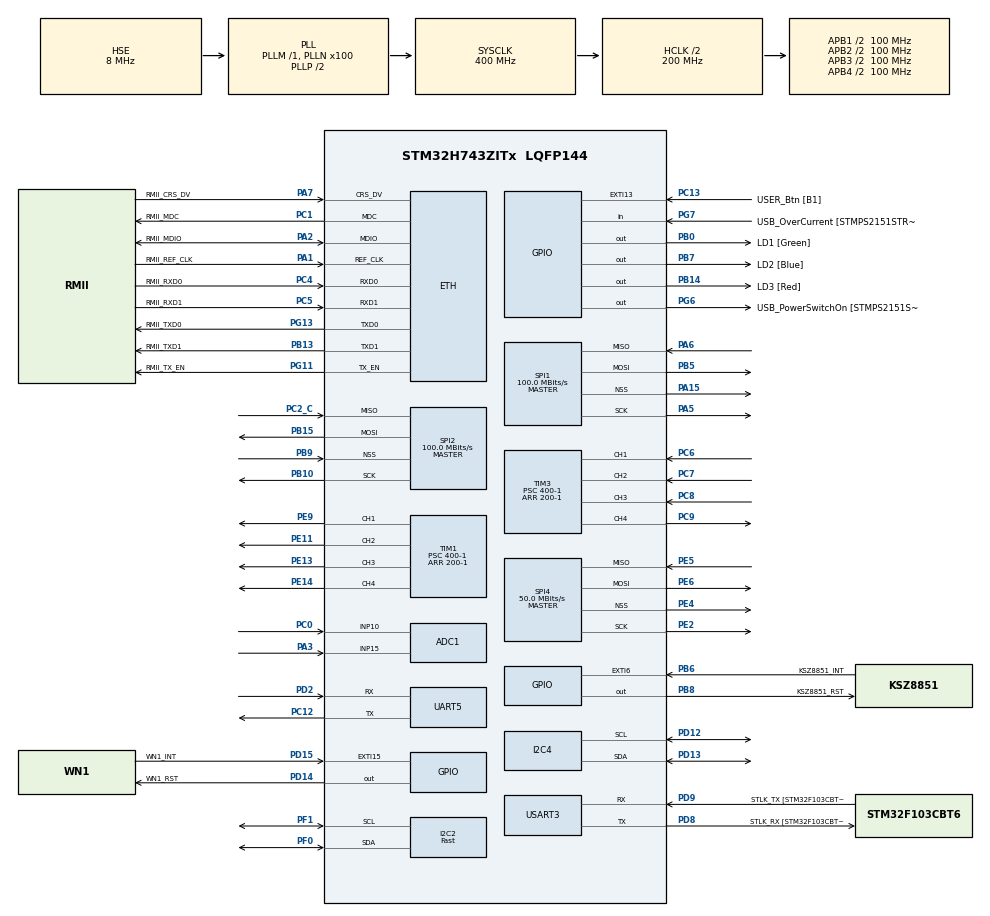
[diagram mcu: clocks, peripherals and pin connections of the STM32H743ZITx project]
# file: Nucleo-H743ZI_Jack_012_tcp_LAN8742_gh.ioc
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ADC1.Channel-0\#ChannelRegularConversion=ADC_CHANNEL_15
ADC1.NbrOfConversionFlag=1
ADC1.OffsetNumber-0\#ChannelRegularConversion=ADC_OFFSET_NONE
ADC1.Rank-0\#ChannelRegularConversion=1
ADC1.SamplingTime-0\#ChannelRegularConversion=ADC_SAMPLETIME_1CYCLE_5
ADC1.master=1
CORTEX_M7.AccessPermission-Cortex_Memory_Protection_Unit_Region0_Settings=MPU_REGION_FULL_ACCESS
CORTEX_M7.AccessPermission-Cortex_Memory_Protection_Unit_Region1_Settings=MPU_REGION_FULL_ACCESS
CORTEX_M7.AccessPermission-Cortex_Memory_Protection_Unit_Region2_Settings=MPU_REGION_FULL_ACCESS
CORTEX_M7.BaseAddress-Cortex_Memory_Protection_Unit_Region0_Settings=0x30040000
CORTEX_M7.BaseAddress-Cortex_Memory_Protection_Unit_Region1_Settings=0x30044000
CORTEX_M7.BaseAddress-Cortex_Memory_Protection_Unit_Region2_Settings=0x30040000
CORTEX_M7.CPU_DCache=Enabled
CORTEX_M7.CPU_ICache=Enabled
CORTEX_M7.Enable-Cortex_Memory_Protection_Unit_Region0_Settings=MPU_REGION_ENABLE
CORTEX_M7.Enable-Cortex_Memory_Protection_Unit_Region1_Settings=MPU_REGION_ENABLE
CORTEX_M7.Enable-Cortex_Memory_Protection_Unit_Region2_Settings=MPU_REGION_ENABLE
CORTEX_M7.IsBufferable-Cortex_Memory_Protection_Unit_Region0_Settings=MPU_ACCESS_NOT_BUFFERABLE
CORTEX_M7.IsBufferable-Cortex_Memory_Protection_Unit_Region2_Settings=MPU_ACCESS_BUFFERABLE
CORTEX_M7.IsCacheable-Cortex_Memory_Protection_Unit_Region1_Settings=MPU_ACCESS_CACHEABLE
CORTEX_M7.MPU_Control=MPU_PRIVILEGED_DEFAULT
CORTEX_M7.Size-Cortex_Memory_Protection_Unit_Region0_Settings=MPU_REGION_SIZE_16KB
CORTEX_M7.Size-Cortex_Memory_Protection_Unit_Region1_Settings=MPU_REGION_SIZE_16KB
CORTEX_M7.Size-Cortex_Memory_Protection_Unit_Region2_Settings=MPU_REGION_SIZE_256B
CORTEX_M7.TypeExtField-Cortex_Memory_Protection_Unit_Region0_Settings=MPU_TEX_LEVEL1
ETH.MediaInterface=HAL_ETH_RMII_MODE
I2C2.I2C_Speed_Mode=I2C_Fast
I2C2.Timing=0x009034B6
I2C4.Timing=0x10C0ECFF
IWDG1.Prescaler=IWDG_PRESCALER_256
LWIP.BSP.number=1
LWIP.GATEWAY_ADDRESS=192.168.025.253
LWIP.IP_ADDRESS=192.168.025.238
LWIP.LWIP_DHCP=0
LWIP.NETMASK_ADDRESS=255.255.255.000
LWIP.Version=v2.0.3_Cube
LWIP0.BSP.STBoard=false
LWIP0.BSP.api=BSP_COMPONENT_DRIVER
LWIP0.BSP.component=LAN8742
LWIP0.BSP.i2caddr=0
LWIP0.BSP.instance=LAN8742
LWIP0.BSP.name=Driver_PHY
LWIP0.BSP.solution=LAN8742
Mcu.Family=STM32H7
Mcu.Name=STM32H743ZITx
Mcu.Package=LQFP144
NVIC.ETH_IRQn=true\:0\:0\:false\:false\:true\:true
NVIC.ETH_WKUP_IRQn=true\:0\:0\:false\:false\:true\:true
NVIC.PriorityGroup=NVIC_PRIORITYGROUP_4
PA1.GPIO_Label=RMII_REF_CLK
PA1.GPIO_Speed=GPIO_SPEED_FREQ_VERY_HIGH
PA1.Mode=RMII
PA1.Signal=ETH_REF_CLK
PA10.GPIO_Label=USB_ID
PA10.Signal=USB_OTG_FS_ID
PA11.GPIO_Label=USB_DM
PA11.GPIO_Speed=GPIO_SPEED_FREQ_VERY_HIGH
PA11.Signal=USB_OTG_FS_DM
PA12.GPIO_Label=USB_DP
PA12.GPIO_Speed=GPIO_SPEED_FREQ_VERY_HIGH
PA12.Signal=USB_OTG_FS_DP
PA13\ (JTMS/SWDIO).GPIO_Label=TMS
PA13\ (JTMS/SWDIO).Mode=Serial_Wire
PA13\ (JTMS/SWDIO).Signal=SYS_JTMS-SWDIO
PA14\ (JTCK/SWCLK).GPIO_Label=TCK
PA14\ (JTCK/SWCLK).Mode=Serial_Wire
PA14\ (JTCK/SWCLK).Signal=SYS_JTCK-SWCLK
PA15\ (JTDI).GPIO_Speed=GPIO_SPEED_FREQ_VERY_HIGH
PA15\ (JTDI).Mode=NSS_Signal_Hard_Output
PA15\ (JTDI).Signal=SPI1_NSS
PA2.GPIO_Label=RMII_MDIO
PA2.GPIO_Speed=GPIO_SPEED_FREQ_VERY_HIGH
PA2.Mode=RMII
PA2.Signal=ETH_MDIO
PA3.Signal=ADCx_INP15
PA5.GPIO_Speed=GPIO_SPEED_FREQ_VERY_HIGH
PA5.Mode=Full_Duplex_Master
PA5.Signal=SPI1_SCK
PA6.GPIO_Speed=GPIO_SPEED_FREQ_VERY_HIGH
PA6.Mode=Full_Duplex_Master
PA6.Signal=SPI1_MISO
PA7.GPIO_Label=RMII_CRS_DV
PA7.GPIO_Speed=GPIO_SPEED_FREQ_VERY_HIGH
PA7.Mode=RMII
PA7.Signal=ETH_CRS_DV
PA8.GPIO_Label=USB_SOF [TP1]
PA8.GPIO_Speed=GPIO_SPEED_FREQ_VERY_HIGH
PA8.Signal=USB_OTG_FS_SOF
PA9.GPIO_Label=USB_VBUS
PA9.Signal=USB_OTG_FS_VBUS
PB0.GPIO_Label=LD1 [Green]
PB0.GPIO_Speed=GPIO_SPEED_FREQ_LOW
PB0.Signal=GPIO_Output
PB10.GPIO_Speed=GPIO_SPEED_FREQ_VERY_HIGH
PB10.Mode=Full_Duplex_Master
PB10.Signal=SPI2_SCK
PB13.GPIO_Label=RMII_TXD1
PB13.GPIO_Speed=GPIO_SPEED_FREQ_VERY_HIGH
PB13.Mode=RMII
PB13.Signal=ETH_TXD1
PB14.GPIO_Label=LD3 [Red]
PB14.Signal=GPIO_Output
PB15.GPIO_Speed=GPIO_SPEED_FREQ_VERY_HIGH
PB15.Mode=Full_Duplex_Master
PB15.Signal=SPI2_MOSI
PB3\ (JTDO/TRACESWO).GPIO_Label=SWO
PB3\ (JTDO/TRACESWO).Signal=SYS_JTDO-SWO
PB5.GPIO_Speed=GPIO_SPEED_FREQ_VERY_HIGH
PB5.Mode=Full_Duplex_Master
PB5.Signal=SPI1_MOSI
PB6.GPIO_Label=KSZ8851_INT
PB6.Signal=GPXTI6
PB7.GPIO_Label=LD2 [Blue]
PB7.Signal=GPIO_Output
PB8.GPIO_Label=KSZ8851_RST
PB8.PinState=GPIO_PIN_SET
PB8.Signal=GPIO_Output
PB9.GPIO_Speed=GPIO_SPEED_FREQ_VERY_HIGH
PB9.Mode=NSS_Signal_Hard_Input
PB9.Signal=SPI2_NSS
PC0.Signal=ADCx_INP10
PC1.GPIO_Label=RMII_MDC
PC1.Mode=RMII
PC1.Signal=ETH_MDC
PC12.GPIO_Speed=GPIO_SPEED_FREQ_HIGH
PC12.Mode=Asynchronous
PC12.Signal=UART5_TX
PC13.GPIO_Label=USER_Btn [B1]
PC13.Signal=GPXTI13
PC14-OSC32_IN\ (OSC32_IN).Mode=LSE-External-Oscillator
PC14-OSC32_IN\ (OSC32_IN).Signal=RCC_OSC32_IN
PC15-OSC32_OUT\ (OSC32_OUT).Mode=LSE-External-Oscillator
PC15-OSC32_OUT\ (OSC32_OUT).Signal=RCC_OSC32_OUT
PC2_C.GPIO_Speed=GPIO_SPEED_FREQ_VERY_HIGH
PC2_C.Mode=Full_Duplex_Master
PC2_C.Signal=SPI2_MISO
PC4.GPIO_Label=RMII_RXD0
PC4.GPIO_Speed=GPIO_SPEED_FREQ_VERY_HIGH
PC4.Mode=RMII
PC4.Signal=ETH_RXD0
PC5.GPIO_Label=RMII_RXD1
PC5.GPIO_Speed=GPIO_SPEED_FREQ_VERY_HIGH
PC5.Mode=RMII
PC5.Signal=ETH_RXD1
PC6.Signal=S_TIM3_CH1
PC7.Signal=S_TIM3_CH2
PC8.Signal=S_TIM3_CH3
PC9.Signal=S_TIM3_CH4
PD12.GPIO_Speed=GPIO_SPEED_FREQ_HIGH
PD12.Mode=I2C
PD12.Signal=I2C4_SCL
PD13.GPIO_Speed=GPIO_SPEED_FREQ_HIGH
PD13.Mode=I2C
PD13.Signal=I2C4_SDA
PD14.GPIO_Label=WN1_RST
PD14.PinState=GPIO_PIN_SET
PD14.Signal=GPIO_Output
PD15.GPIO_Label=WN1_INT
PD15.GPIO_PuPd=GPIO_PULLUP
PD15.Signal=GPXTI15
PD2.GPIO_Speed=GPIO_SPEED_FREQ_HIGH
PD2.Mode=Asynchronous
PD2.Signal=UART5_RX
PD8.GPIO_Label=STLK_RX [STM32F103CBT6_PA3]
PD8.GPIO_Speed=GPIO_SPEED_FREQ_HIGH
PD8.Mode=Asynchronous
PD8.Signal=USART3_TX
PD9.GPIO_Label=STLK_TX [STM32F103CBT6_PA2]
PD9.GPIO_Speed=GPIO_SPEED_FREQ_HIGH
PD9.Mode=Asynchronous
PD9.Signal=USART3_RX
PE11.Signal=S_TIM1_CH2
PE13.Signal=S_TIM1_CH3
PE14.Signal=S_TIM1_CH4
PE2.GPIO_Speed=GPIO_SPEED_FREQ_VERY_HIGH
PE2.Mode=Full_Duplex_Master
PE2.Signal=SPI4_SCK
PE4.GPIO_Speed=GPIO_SPEED_FREQ_VERY_HIGH
PE4.Mode=NSS_Signal_Hard_Output
PE4.Signal=SPI4_NSS
PE5.GPIO_Speed=GPIO_SPEED_FREQ_VERY_HIGH
PE5.Mode=Full_Duplex_Master
PE5.Signal=SPI4_MISO
PE6.GPIO_Speed=GPIO_SPEED_FREQ_VERY_HIGH
PE6.Mode=Full_Duplex_Master
PE6.Signal=SPI4_MOSI
PE9.Signal=S_TIM1_CH1
PF0.GPIO_Speed=GPIO_SPEED_FREQ_HIGH
PF0.Mode=I2C
PF0.Signal=I2C2_SDA
PF1.GPIO_Speed=GPIO_SPEED_FREQ_HIGH
PF1.Mode=I2C
PF1.Signal=I2C2_SCL
PG11.GPIO_Label=RMII_TX_EN
PG11.GPIO_Speed=GPIO_SPEED_FREQ_VERY_HIGH
PG11.Mode=RMII
PG11.Signal=ETH_TX_EN
PG13.GPIO_Label=RMII_TXD0
PG13.GPIO_Speed=GPIO_SPEED_FREQ_VERY_HIGH
PG13.Mode=RMII
PG13.Signal=ETH_TXD0
PG6.GPIO_Label=USB_PowerSwitchOn [STMPS2151STR_EN]
PG6.Signal=GPIO_Output
PG7.GPIO_Label=USB_OverCurrent [STMPS2151STR_FAULT]
PG7.Signal=GPIO_Input
PH0-OSC_IN\ (PH0).GPIO_Label=MCO
PH0-OSC_IN\ (PH0).Mode=HSE-External-Clock-Source
PH0-OSC_IN\ (PH0).Signal=RCC_OSC_IN
PH1-OSC_OUT\ (PH1).Mode=HSE-External-Clock-Source
PH1-OSC_OUT\ (PH1).Signal=RCC_OSC_OUT
ProjectManager.HeapSize=0x2000
ProjectManager.StackSize=0x4000
ProjectManager.TargetToolchain=TrueSTUDIO
RCC.48MHZClocksFreq_Value=24000000
RCC.ADCFreq_Value=400000000
RCC.AHBFreq_Value=216000000
RCC.APB1CLKDivider=RCC_HCLK_DIV4
RCC.APB1Freq_Value=100000000
RCC.APB1TimFreq_Value=108000000
RCC.APB2CLKDivider=RCC_HCLK_DIV2
RCC.APB2Freq_Value=100000000
RCC.APB2TimFreq_Value=216000000
RCC.APB3Freq_Value=100000000
RCC.APB4Freq_Value=100000000
RCC.CortexFreq_Value=400000000
RCC.D1PPRE=RCC_APB3_DIV2
RCC.D2PPRE1=RCC_APB1_DIV2
RCC.D2PPRE2=RCC_APB2_DIV2
RCC.D3PPRE=RCC_APB4_DIV2
RCC.DIVM1=1
RCC.DIVM2=1
RCC.DIVM3=1
RCC.DIVN1=100
RCC.DIVN2=100
RCC.DIVN3=100
RCC.DIVQ1=4
RCC.HCLKFreq_Value=200000000
RCC.HPRE=RCC_HCLK_DIV2
RCC.HSE_VALUE=8000000
RCC.HSI_VALUE=64000000
RCC.PLLM=25
RCC.PLLMUL=RCC_PLL_MUL9
RCC.PLLN=432
RCC.PLLQ=9
RCC.PLLSourceVirtual=RCC_PLLSOURCE_HSE
RCC.PRESCALERUSB=RCC_USBCLKSOURCE_PLL_DIV1_5
RCC.SYSCLKFreq_VALUE=400000000
RCC.SYSCLKSource=RCC_SYSCLKSOURCE_PLLCLK
RCC.SYSCLKSourceVirtual=RCC_SYSCLKSOURCE_PLLCLK
RCC.USBCLockSelection=RCC_USBCLKSOURCE_HSI48
RCC.USBFreq_Value=48000000
RCC.VCOOutputFreq_Value=432000000
RTC.Format=RTC_FORMAT_BIN
RTC.Year=19
SH.ADCx_INP10.0=ADC1_INP10,IN10-Single-Ended
SH.ADCx_INP15.0=ADC1_INP15,IN15-Single-Ended
SH.S_TIM1_CH1.0=TIM1_CH1,Output Compare1 CH1
SH.S_TIM1_CH2.0=TIM1_CH2,Output Compare2 CH2
SH.S_TIM1_CH3.0=TIM1_CH3,Output Compare3 CH3
SH.S_TIM1_CH4.0=TIM1_CH4,Output Compare4 CH4
SH.S_TIM3_CH1.0=TIM3_CH1,Xored_Inputs_Hall_Sensor_Interface
SH.S_TIM3_CH2.0=TIM3_CH2,Xored_Inputs_Hall_Sensor_Interface
SH.S_TIM3_CH3.0=TIM3_CH3,Xored_Inputs_Hall_Sensor_Interface
SH.S_TIM3_CH4.0=TIM3_CH4,Output Compare4 CH4
SPI1.CalculateBaudRate=100.0 MBits/s
SPI1.DataSize=SPI_DATASIZE_8BIT
SPI1.Direction=SPI_DIRECTION_2LINES
SPI1.Mode=SPI_MODE_MASTER
SPI1.VirtualNSS=VM_NSSHARD
SPI1.VirtualType=VM_MASTER
SPI2.CalculateBaudRate=100.0 MBits/s
SPI2.DataSize=SPI_DATASIZE_8BIT
SPI2.Direction=SPI_DIRECTION_2LINES
SPI2.Mode=SPI_MODE_MASTER
SPI2.VirtualNSS=VM_NSSHARD
SPI2.VirtualType=VM_MASTER
SPI4.CalculateBaudRate=50.0 MBits/s
SPI4.DataSize=SPI_DATASIZE_8BIT
SPI4.Direction=SPI_DIRECTION_2LINES
SPI4.Mode=SPI_MODE_MASTER
SPI4.VirtualNSS=VM_NSSHARD
SPI4.VirtualType=VM_MASTER
TIM1.Channel-Output\ Compare1\ CH1=TIM_CHANNEL_1
TIM1.Channel-Output\ Compare2\ CH2=TIM_CHANNEL_2
TIM1.Channel-Output\ Compare3\ CH3=TIM_CHANNEL_3
TIM1.Channel-Output\ Compare4\ CH4=TIM_CHANNEL_4
TIM1.Period=200-1
TIM1.Prescaler=400-1
TIM1.Pulse-Output\ Compare1\ CH1=200-1
TIM1.Pulse-Output\ Compare2\ CH2=200-1
TIM1.Pulse-Output\ Compare3\ CH3=200-1
TIM1.Pulse-Output\ Compare4\ CH4=200-1
TIM3.Channel-Output\ Compare4\ CH4=TIM_CHANNEL_4
TIM3.Period=200-1
TIM3.Prescaler=400-1
USART3.VirtualMode-Asynchronous=VM_ASYNC
VP_FATFS_VS_Generic.Mode=User_defined
VP_IWDG1_VS_IWDG.Mode=IWDG_Activate
VP_LWIP_VS_Enabled.Mode=Enabled
VP_RNG_VS_RNG.Mode=RNG_Activate
VP_RTC_VS_RTC_Activate.Mode=RTC_Enabled
VP_RTC_VS_RTC_Calendar.Mode=RTC_Calendar
VP_TIM1_VS_ClockSourceINT.Mode=Internal
VP_TIM3_VS_ClockSourceINT.Mode=Internal
board=NUCLEO-H743ZI

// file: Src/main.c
/* USER CODE BEGIN Header */
/**
  ******************************************************************************
  * @file           : main.c
  * @brief          : Main program body
  ******************************************************************************
  * This notice applies to any and all portions of this file
  * that are not between comment pairs USER CODE BEGIN and
  * USER CODE END. Other portions of this file, whether
  * inserted by the user or by software development tools
  * are owned by their respective copyright owners.
  *
  * Copyright (c) 2019 STMicroelectronics International N.V.
  * All rights reserved.
  *
  * Redistribution and use in source and binary forms, with or without
  * modification, are permitted, provided that the following conditions are met:
  *
  * 1. Redistribution of source code must retain the above copyright notice,
  *    this list of conditions and the following disclaimer.
  * 2. Redistributions in binary form must reproduce the above copyright notice,
  *    this list of conditions and the following disclaimer in the documentation
  *    and/or other materials provided with the distribution.
  * 3. Neither the name of STMicroelectronics nor the names of other
  *    contributors to this software may be used to endorse or promote products
  *    derived from this software without specific written permission.
  * 4. This software, including modifications and/or derivative works of this
  *    software, must execute solely and exclusively on microcontroller or
  *    microprocessor devices manufactured by or for STMicroelectronics.
  * 5. Redistribution and use of this software other than as permitted under
  *    this license is void and will automatically terminate your rights under
  *    this license.
  *
  * THIS SOFTWARE IS PROVIDED BY STMICROELECTRONICS AND CONTRIBUTORS "AS IS"
  * AND ANY EXPRESS, IMPLIED OR STATUTORY WARRANTIES, INCLUDING, BUT NOT
  * LIMITED TO, THE IMPLIED WARRANTIES OF MERCHANTABILITY, FITNESS FOR A
  * PARTICULAR PURPOSE AND NON-INFRINGEMENT OF THIRD PARTY INTELLECTUAL PROPERTY
  * RIGHTS ARE DISCLAIMED TO THE FULLEST EXTENT PERMITTED BY LAW. IN NO EVENT
  * SHALL STMICROELECTRONICS OR CONTRIBUTORS BE LIABLE FOR ANY DIRECT, INDIRECT,
  * INCIDENTAL, SPECIAL, EXEMPLARY, OR CONSEQUENTIAL DAMAGES (INCLUDING, BUT NOT
  * LIMITED TO, PROCUREMENT OF SUBSTITUTE GOODS OR SERVICES; LOSS OF USE, DATA,
  * OR PROFITS; OR BUSINESS INTERRUPTION) HOWEVER CAUSED AND ON ANY THEORY OF
  * LIABILITY, WHETHER IN CONTRACT, STRICT LIABILITY, OR TORT (INCLUDING
  * NEGLIGENCE OR OTHERWISE) ARISING IN ANY WAY OUT OF THE USE OF THIS SOFTWARE,
  * EVEN IF ADVISED OF THE POSSIBILITY OF SUCH DAMAGE.
  *
  ******************************************************************************
  */
/* USER CODE END Header */

#include "main.h"
#include "adc.h"
#include "bdma.h"
#include "dma.h"
#include "fatfs.h"
#include "i2c.h"
#include "iwdg.h"
#include "lwip.h"
#include "rng.h"
#include "rtc.h"
#include "spi.h"
#include "tim.h"
#include "usart.h"
#include "usb_device.h"
#include "gpio.h"

/* USER CODE BEGIN Includes */
#include "tcp_echoserver.h"
#include "app_ethernet.h"
/* USER CODE END Includes */

/* USER CODE BEGIN PV */
uint32_t msTick = 0;
uint32_t msTickPrevious = 0;

/* USER CODE END PV */

void SystemClock_Config(void);
static void MPU_Config(void);
/* USER CODE BEGIN PFP */
void HAL_StartTicks(void);
uint32_t HAL_GetTicks(void);

/* USER CODE END PFP */

int main(void)
{

  /* MPU Configuration--------------------------------------------------------*/
  MPU_Config();

  /* Enable I-Cache---------------------------------------------------------*/
  SCB_EnableICache();

  /* Enable D-Cache---------------------------------------------------------*/
  SCB_EnableDCache();

  /* MCU Configuration--------------------------------------------------------*/

  /* Reset of all peripherals, Initializes the Flash interface and the Systick. */
  HAL_Init();

  /* Configure the system clock */
  SystemClock_Config();

  /* Initialize all configured peripherals */
  MX_GPIO_Init();
  MX_BDMA_Init();
  MX_DMA_Init();
  MX_USART3_UART_Init();
  MX_RNG_Init();
  MX_IWDG1_Init();
  MX_LWIP_Init();
  MX_SPI4_Init();
  MX_SPI1_Init();
  MX_I2C4_Init();
  MX_SPI2_Init();
  MX_ADC1_Init();
  MX_I2C2_Init();
  MX_TIM1_Init();
  MX_TIM3_Init();
  MX_UART5_Init();
  MX_RTC_Init();
  MX_FATFS_Init();
  MX_USB_DEVICE_Init();
  /* USER CODE BEGIN 2 */

  /* TCP echo server Init */
  tcp_echoserver_init();

  struct udp_pcb *pcb;
    struct pbuf *p;
    err_t err;
    ip4_addr_t dst_addr;
    const unsigned short src_port = 12345;
    const unsigned short dst_port = 12345;

    IP4_ADDR(&dst_addr,192,168,25,100);

    pcb = udp_new();
    err = udp_bind(pcb, IP_ADDR_ANY, src_port);

    uint32_t cnt = 0;
    uint32_t t = HAL_GetTick();

  /* USER CODE END 2 */

  /* Infinite loop */
  /* USER CODE BEGIN WHILE */
  while (1)
    {
      HAL_IWDG_Refresh(&hiwdg1);

      MX_LWIP_Process();

      HAL_Delay(2);

      /* Read a received packet from the Ethernet buffers and send it
         to the lwIP for handling */
      //ethernetif_input(&gnetif);
      /* Handle timeouts */
      //sys_check_timeouts();

      /* UDP */
      if(HAL_GetTick() - t > 1000)
        {
          p = pbuf_alloc(PBUF_TRANSPORT, sizeof(4), PBUF_RAM);
          *(uint32_t *)p->payload = cnt++;
          p->len = 4;
          err = udp_sendto(pcb, p, &dst_addr, dst_port);
          t = HAL_GetTick();
          pbuf_free(p);
        }

#if LWIP_NETIF_LINK_CALLBACK
      Ethernet_Link_Periodic_Handle(&gnetif);
#endif

#if LWIP_DHCP
      DHCP_Periodic_Handle(&gnetif);
#endif

    /* USER CODE END WHILE */

  }
}

void SystemClock_Config(void)
{
  RCC_OscInitTypeDef RCC_OscInitStruct = {0};
  RCC_ClkInitTypeDef RCC_ClkInitStruct = {0};
  RCC_PeriphCLKInitTypeDef PeriphClkInitStruct = {0};

  /**Supply configuration update enable
  */
  MODIFY_REG(PWR->CR3, PWR_CR3_SCUEN, 0);
  /**Configure the main internal regulator output voltage
  */
  __HAL_PWR_VOLTAGESCALING_CONFIG(PWR_REGULATOR_VOLTAGE_SCALE1);

  while ((PWR->D3CR & (PWR_D3CR_VOSRDY)) != PWR_D3CR_VOSRDY)
  {

  }
  /**Macro to configure the PLL clock source
  */
  __HAL_RCC_PLL_PLLSOURCE_CONFIG(RCC_PLLSOURCE_HSE);
  /**Initializes the CPU, AHB and APB busses clocks
  */
  RCC_OscInitStruct.OscillatorType = RCC_OSCILLATORTYPE_HSI48|RCC_OSCILLATORTYPE_LSI
                              |RCC_OSCILLATORTYPE_HSE;
  RCC_OscInitStruct.HSEState = RCC_HSE_BYPASS;
  RCC_OscInitStruct.LSIState = RCC_LSI_ON;
  RCC_OscInitStruct.HSI48State = RCC_HSI48_ON;
  RCC_OscInitStruct.PLL.PLLState = RCC_PLL_ON;
  RCC_OscInitStruct.PLL.PLLSource = RCC_PLLSOURCE_HSE;
  RCC_OscInitStruct.PLL.PLLM = 1;
  RCC_OscInitStruct.PLL.PLLN = 100;
  RCC_OscInitStruct.PLL.PLLP = 2;
  RCC_OscInitStruct.PLL.PLLQ = 4;
  RCC_OscInitStruct.PLL.PLLR = 2;
  RCC_OscInitStruct.PLL.PLLRGE = RCC_PLL1VCIRANGE_3;
  RCC_OscInitStruct.PLL.PLLVCOSEL = RCC_PLL1VCOWIDE;
  RCC_OscInitStruct.PLL.PLLFRACN = 0;
  if (HAL_RCC_OscConfig(&RCC_OscInitStruct) != HAL_OK)
  {
    Error_Handler();
  }
  /**Initializes the CPU, AHB and APB busses clocks
  */
  RCC_ClkInitStruct.ClockType = RCC_CLOCKTYPE_HCLK|RCC_CLOCKTYPE_SYSCLK
                              |RCC_CLOCKTYPE_PCLK1|RCC_CLOCKTYPE_PCLK2
                              |RCC_CLOCKTYPE_D3PCLK1|RCC_CLOCKTYPE_D1PCLK1;
  RCC_ClkInitStruct.SYSCLKSource = RCC_SYSCLKSOURCE_PLLCLK;
  RCC_ClkInitStruct.SYSCLKDivider = RCC_SYSCLK_DIV1;
  RCC_ClkInitStruct.AHBCLKDivider = RCC_HCLK_DIV2;
  RCC_ClkInitStruct.APB3CLKDivider = RCC_APB3_DIV2;
  RCC_ClkInitStruct.APB1CLKDivider = RCC_APB1_DIV2;
  RCC_ClkInitStruct.APB2CLKDivider = RCC_APB2_DIV2;
  RCC_ClkInitStruct.APB4CLKDivider = RCC_APB4_DIV2;

  if (HAL_RCC_ClockConfig(&RCC_ClkInitStruct, FLASH_LATENCY_2) != HAL_OK)
  {
    Error_Handler();
  }
  PeriphClkInitStruct.PeriphClockSelection = RCC_PERIPHCLK_RTC|RCC_PERIPHCLK_USART3
                              |RCC_PERIPHCLK_UART5|RCC_PERIPHCLK_RNG
                              |RCC_PERIPHCLK_SPI4|RCC_PERIPHCLK_SPI1
                              |RCC_PERIPHCLK_SPI2|RCC_PERIPHCLK_I2C2
                              |RCC_PERIPHCLK_ADC|RCC_PERIPHCLK_I2C4
                              |RCC_PERIPHCLK_USB;
  PeriphClkInitStruct.PLL2.PLL2M = 1;
  PeriphClkInitStruct.PLL2.PLL2N = 100;
  PeriphClkInitStruct.PLL2.PLL2P = 2;
  PeriphClkInitStruct.PLL2.PLL2Q = 2;
  PeriphClkInitStruct.PLL2.PLL2R = 2;
  PeriphClkInitStruct.PLL2.PLL2RGE = RCC_PLL2VCIRANGE_3;
  PeriphClkInitStruct.PLL2.PLL2VCOSEL = RCC_PLL2VCOWIDE;
  PeriphClkInitStruct.PLL2.PLL2FRACN = 0;
  PeriphClkInitStruct.Spi123ClockSelection = RCC_SPI123CLKSOURCE_PLL;
  PeriphClkInitStruct.Spi45ClockSelection = RCC_SPI45CLKSOURCE_D2PCLK1;
  PeriphClkInitStruct.Usart234578ClockSelection = RCC_USART234578CLKSOURCE_D2PCLK1;
  PeriphClkInitStruct.RngClockSelection = RCC_RNGCLKSOURCE_HSI48;
  PeriphClkInitStruct.I2c123ClockSelection = RCC_I2C123CLKSOURCE_D2PCLK1;
  PeriphClkInitStruct.UsbClockSelection = RCC_USBCLKSOURCE_HSI48;
  PeriphClkInitStruct.I2c4ClockSelection = RCC_I2C4CLKSOURCE_D3PCLK1;
  PeriphClkInitStruct.AdcClockSelection = RCC_ADCCLKSOURCE_PLL2;
  PeriphClkInitStruct.RTCClockSelection = RCC_RTCCLKSOURCE_LSI;
  if (HAL_RCCEx_PeriphCLKConfig(&PeriphClkInitStruct) != HAL_OK)
  {
    Error_Handler();
  }
}

/* MPU Configuration */

void MPU_Config(void)
{
  MPU_Region_InitTypeDef MPU_InitStruct = {0};

  /* Disables the MPU */
  HAL_MPU_Disable();
  /**Initializes and configures the Region and the memory to be protected
  */
  MPU_InitStruct.Enable = MPU_REGION_ENABLE;
  MPU_InitStruct.Number = MPU_REGION_NUMBER0;
  MPU_InitStruct.BaseAddress = 0x30040000;
  MPU_InitStruct.Size = MPU_REGION_SIZE_16KB;
  MPU_InitStruct.SubRegionDisable = 0x0;
  MPU_InitStruct.TypeExtField = MPU_TEX_LEVEL1;
  MPU_InitStruct.AccessPermission = MPU_REGION_FULL_ACCESS;
  MPU_InitStruct.DisableExec = MPU_INSTRUCTION_ACCESS_ENABLE;
  MPU_InitStruct.IsShareable = MPU_ACCESS_NOT_SHAREABLE;
  MPU_InitStruct.IsCacheable = MPU_ACCESS_NOT_CACHEABLE;
  MPU_InitStruct.IsBufferable = MPU_ACCESS_NOT_BUFFERABLE;

  HAL_MPU_ConfigRegion(&MPU_InitStruct);
  /**Initializes and configures the Region and the memory to be protected
  */
  MPU_InitStruct.Enable = MPU_REGION_ENABLE;
  MPU_InitStruct.Number = MPU_REGION_NUMBER1;
  MPU_InitStruct.BaseAddress = 0x30044000;
  MPU_InitStruct.Size = MPU_REGION_SIZE_16KB;
  MPU_InitStruct.SubRegionDisable = 0x0;
  MPU_InitStruct.TypeExtField = MPU_TEX_LEVEL0;
  MPU_InitStruct.AccessPermission = MPU_REGION_FULL_ACCESS;
  MPU_InitStruct.DisableExec = MPU_INSTRUCTION_ACCESS_ENABLE;
  MPU_InitStruct.IsShareable = MPU_ACCESS_NOT_SHAREABLE;
  MPU_InitStruct.IsCacheable = MPU_ACCESS_CACHEABLE;
  MPU_InitStruct.IsBufferable = MPU_ACCESS_NOT_BUFFERABLE;

  HAL_MPU_ConfigRegion(&MPU_InitStruct);
  /**Initializes and configures the Region and the memory to be protected
  */
  MPU_InitStruct.Enable = MPU_REGION_ENABLE;
  MPU_InitStruct.Number = MPU_REGION_NUMBER2;
  MPU_InitStruct.BaseAddress = 0x30040000;
  MPU_InitStruct.Size = MPU_REGION_SIZE_256B;
  MPU_InitStruct.SubRegionDisable = 0x0;
  MPU_InitStruct.TypeExtField = MPU_TEX_LEVEL0;
  MPU_InitStruct.AccessPermission = MPU_REGION_FULL_ACCESS;
  MPU_InitStruct.DisableExec = MPU_INSTRUCTION_ACCESS_ENABLE;
  MPU_InitStruct.IsShareable = MPU_ACCESS_NOT_SHAREABLE;
  MPU_InitStruct.IsCacheable = MPU_ACCESS_NOT_CACHEABLE;
  MPU_InitStruct.IsBufferable = MPU_ACCESS_BUFFERABLE;

  HAL_MPU_ConfigRegion(&MPU_InitStruct);
  /* Enables the MPU */
  HAL_MPU_Enable(MPU_PRIVILEGED_DEFAULT);

}

void Error_Handler(void)
{
}

/************************ (C) COPYRIGHT STMicroelectronics *****END OF FILE****/
